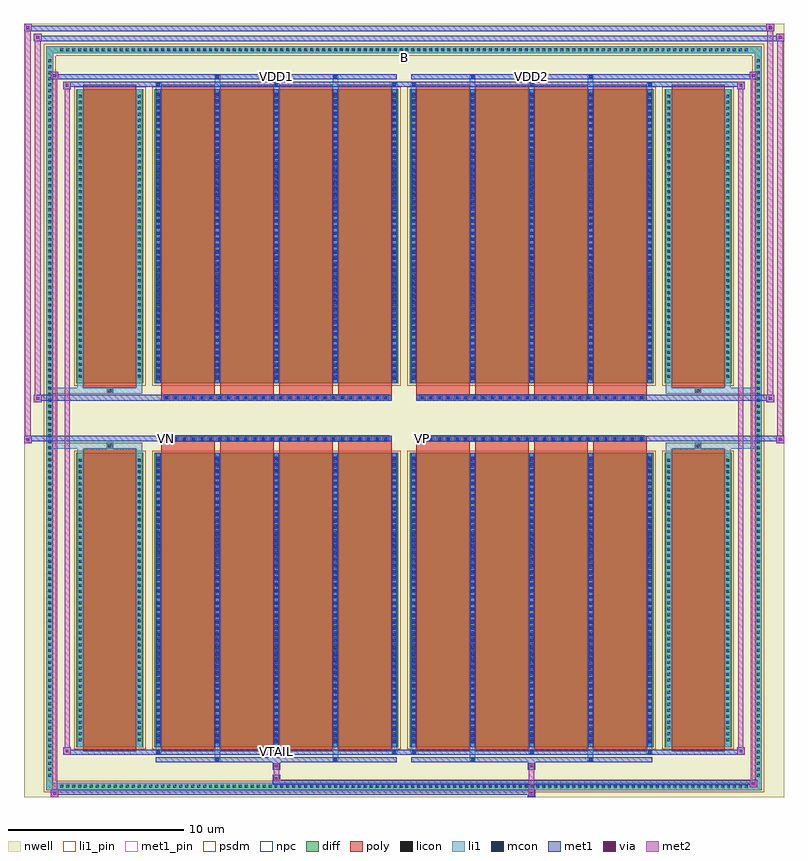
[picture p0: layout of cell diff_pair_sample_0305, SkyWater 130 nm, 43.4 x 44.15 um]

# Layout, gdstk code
import gdstk
lib = gdstk.Library(unit=1e-6, precision=5e-09)
def R(c, l, rs):  # rectangles x0, y0, x1, y1
    for r in rs: c.add(gdstk.rectangle(r[:2], r[2:], *l))
def A(c, l, x, y, w, h, nx, ny, dx, dy):  # array of equal rectangles
    R(c, l, [(x+i*dx, y+j*dy, x+i*dx+w, y+j*dy+h) for i in range(nx) for j in range(ny)])
def P(c, l, *ps):  # polygons
    for p in ps: c.add(gdstk.Polygon(p, *l))
nwell = (64, 20)
diff = (65, 20)
poly = (66, 20)
licon = (66, 44)
li1_pin = (67, 16)
li1 = (67, 20)
mcon = (67, 44)
met1_pin = (68, 16)
met1 = (68, 20)
via = (68, 44)
met2 = (69, 20)
psdm = (94, 20)
npc = (95, 20)

diff_pair_sample_0305 = lib.new_cell('diff_pair_sample_0305')
R(diff_pair_sample_0305, nwell, [(-21.7,-21.64,21.7,22.51), (-19.02,-19.83,-0.01,-0.805), (0.01,-19.83,19.02,-0.805), (-19.02,0.805,-0.01,19.83), (0.01,0.805,19.02,19.83)])
A(diff_pair_sample_0305, diff, -19.755, -21.24, 0.41, 0.41, 116, 2, 0.34, 42.07)
A(diff_pair_sample_0305, diff, -20.43, -20.605, 0.41, 0.41, 1, 121, 0, 0.34)
A(diff_pair_sample_0305, diff, 20.02, -20.605, 0.41, 0.41, 1, 121, 0, 0.34)
R(diff_pair_sample_0305, diff, [(-19.755,-21.24,19.755,-20.83), (-20.43,-20.605,-20.02,20.605), (20.02,-20.605,20.43,20.605), (-18.71,-18.785,-14.89,-1.985), (-14.25,-18.785,-0.32,-1.985), (0.32,-18.785,14.25,-1.985), (14.89,-18.785,18.71,-1.985), (-18.71,1.985,-14.89,18.785), (-14.25,1.985,-0.32,18.785), (0.32,1.985,14.25,18.785), (14.89,1.985,18.71,18.785), (-19.755,20.83,19.755,21.24)])
P(diff_pair_sample_0305, diff, [(20.43,21.24),(-20.43,21.24),(-20.43,-20.83),(-20.02,-20.83),(-20.02,20.83),(20.02,20.83),(20.02,-20.83),(-20.02,-20.83),(-20.43,-20.83),(-20.43,-21.24),(20.43,-21.24)])
A(diff_pair_sample_0305, poly, -13.86, -19.035, 3.04, 17.3, 4, 2, 3.37, 20.77)
A(diff_pair_sample_0305, poly, 0.71, -19.035, 3.04, 17.3, 4, 2, 3.37, 20.77)
A(diff_pair_sample_0305, poly, -13.86, -1.735, 3.04, 0.4, 4, 2, 3.37, 3.07)
A(diff_pair_sample_0305, poly, 0.71, -1.735, 3.04, 0.4, 4, 2, 3.37, 3.07)
A(diff_pair_sample_0305, poly, -13.7, -1.335, 0.33, 0.33, 26, 2, 0.5, 2.34)
A(diff_pair_sample_0305, poly, 0.87, -1.335, 0.33, 0.33, 26, 2, 0.5, 2.34)
R(diff_pair_sample_0305, poly, [(-18.32,-19.035,-15.28,-1.735), (15.28,-19.035,18.32,-1.735), (-16.965,-1.735,-16.635,-1.405), (-16.965,-1.735,-16.635,-1.405), (16.635,-1.735,16.965,-1.405), (16.635,-1.735,16.965,-1.405), (-13.86,-1.335,-0.71,-1.005), (0.71,-1.335,13.86,-1.005), (-13.86,1.005,-0.71,1.335), (0.71,1.005,13.86,1.335), (-16.965,1.405,-16.635,1.735), (-16.965,1.405,-16.635,1.735), (16.635,1.405,16.965,1.735), (16.635,1.405,16.965,1.735), (-18.32,1.735,-15.28,19.035), (15.28,1.735,18.32,19.035)])
A(diff_pair_sample_0305, licon, -19.635, -21.12, 0.17, 0.17, 116, 2, 0.34, 42.07)
A(diff_pair_sample_0305, licon, -20.31, -20.485, 0.17, 0.17, 1, 121, 0, 0.34)
A(diff_pair_sample_0305, licon, 20.14, -20.485, 0.17, 0.17, 1, 121, 0, 0.34)
A(diff_pair_sample_0305, licon, -18.57, -18.46, 0.17, 0.17, 1, 48, 0, 0.34)
A(diff_pair_sample_0305, licon, -15.2, -18.46, 0.17, 0.17, 1, 48, 0, 0.34)
A(diff_pair_sample_0305, licon, -14.11, -18.46, 0.17, 0.17, 5, 48, 3.37, 0.34)
A(diff_pair_sample_0305, licon, 0.46, -18.46, 0.17, 0.17, 5, 48, 3.37, 0.34)
A(diff_pair_sample_0305, licon, 15.03, -18.46, 0.17, 0.17, 1, 48, 0, 0.34)
A(diff_pair_sample_0305, licon, 18.4, -18.46, 0.17, 0.17, 1, 48, 0, 0.34)
A(diff_pair_sample_0305, licon, -13.62, -1.255, 0.17, 0.17, 26, 2, 0.5, 2.34)
A(diff_pair_sample_0305, licon, 0.95, -1.255, 0.17, 0.17, 26, 2, 0.5, 2.34)
A(diff_pair_sample_0305, licon, -18.57, 2.31, 0.17, 0.17, 1, 48, 0, 0.34)
A(diff_pair_sample_0305, licon, -15.2, 2.31, 0.17, 0.17, 1, 48, 0, 0.34)
A(diff_pair_sample_0305, licon, -14.11, 2.31, 0.17, 0.17, 5, 48, 3.37, 0.34)
A(diff_pair_sample_0305, licon, 0.46, 2.31, 0.17, 0.17, 5, 48, 3.37, 0.34)
A(diff_pair_sample_0305, licon, 15.03, 2.31, 0.17, 0.17, 1, 48, 0, 0.34)
A(diff_pair_sample_0305, licon, 18.4, 2.31, 0.17, 0.17, 1, 48, 0, 0.34)
R(diff_pair_sample_0305, licon, [(-16.885,-1.655,-16.715,-1.485), (16.715,-1.655,16.885,-1.485), (-16.885,1.485,-16.715,1.655), (16.715,1.485,16.885,1.655)])
R(diff_pair_sample_0305, li1_pin, [(-0.25,20.33,0.25,20.83)])
A(diff_pair_sample_0305, li1, -19.715, -21.2, 0.33, 0.33, 116, 2, 0.34, 42.07)
A(diff_pair_sample_0305, li1, -20.39, -20.565, 0.33, 0.33, 1, 121, 0, 0.34)
A(diff_pair_sample_0305, li1, 20.06, -20.565, 0.33, 0.33, 1, 121, 0, 0.34)
A(diff_pair_sample_0305, li1, -14.19, -19.16, 0.33, 0.375, 3, 2, 6.74, 37.945)
A(diff_pair_sample_0305, li1, -14.11, -19.16, 0.17, 0.17, 3, 2, 6.74, 38.15)
A(diff_pair_sample_0305, li1, 0.38, -19.16, 0.33, 0.375, 3, 2, 6.74, 37.945)
A(diff_pair_sample_0305, li1, 0.46, -19.16, 0.17, 0.17, 3, 2, 6.74, 38.15)
A(diff_pair_sample_0305, li1, -14.19, -18.785, 0.33, 16.8, 5, 2, 3.37, 20.77)
A(diff_pair_sample_0305, li1, 0.38, -18.785, 0.33, 16.8, 5, 2, 3.37, 20.77)
A(diff_pair_sample_0305, li1, -14.11, -18.57, 0.17, 0.17, 5, 46, 3.37, 0.36)
A(diff_pair_sample_0305, li1, -14.11, -18.57, 0.17, 16.37, 5, 2, 3.37, 20.77)
A(diff_pair_sample_0305, li1, 0.46, -18.57, 0.17, 0.17, 5, 46, 3.37, 0.36)
A(diff_pair_sample_0305, li1, 0.46, -18.57, 0.17, 16.37, 5, 2, 3.37, 20.77)
A(diff_pair_sample_0305, li1, -18.65, -18.54, 0.33, 0.33, 1, 48, 0, 0.34)
A(diff_pair_sample_0305, li1, -15.28, -18.54, 0.33, 0.33, 1, 48, 0, 0.34)
A(diff_pair_sample_0305, li1, -14.19, -18.54, 0.33, 0.33, 5, 48, 3.37, 0.34)
A(diff_pair_sample_0305, li1, 0.38, -18.54, 0.33, 0.33, 5, 48, 3.37, 0.34)
A(diff_pair_sample_0305, li1, 14.95, -18.54, 0.33, 0.33, 1, 48, 0, 0.34)
A(diff_pair_sample_0305, li1, 18.32, -18.54, 0.33, 0.33, 1, 48, 0, 0.34)
A(diff_pair_sample_0305, li1, -13.7, -1.335, 0.33, 0.33, 26, 2, 0.5, 2.34)
A(diff_pair_sample_0305, li1, 0.87, -1.335, 0.33, 0.33, 26, 2, 0.5, 2.34)
A(diff_pair_sample_0305, li1, -14.11, 2.2, 0.17, 0.17, 5, 46, 3.37, 0.36)
A(diff_pair_sample_0305, li1, 0.46, 2.2, 0.17, 0.17, 5, 46, 3.37, 0.36)
A(diff_pair_sample_0305, li1, -18.65, 2.23, 0.33, 0.33, 1, 48, 0, 0.34)
A(diff_pair_sample_0305, li1, -15.28, 2.23, 0.33, 0.33, 1, 48, 0, 0.34)
A(diff_pair_sample_0305, li1, -14.19, 2.23, 0.33, 0.33, 5, 48, 3.37, 0.34)
A(diff_pair_sample_0305, li1, 0.38, 2.23, 0.33, 0.33, 5, 48, 3.37, 0.34)
A(diff_pair_sample_0305, li1, 14.95, 2.23, 0.33, 0.33, 1, 48, 0, 0.34)
A(diff_pair_sample_0305, li1, 18.32, 2.23, 0.33, 0.33, 1, 48, 0, 0.34)
R(diff_pair_sample_0305, li1, [(-20.43,-21.24,-20.02,-20.83), (-20.43,-21.24,-20.02,-20.83), (-20.02,-21.24,20.02,-20.83), (20.02,-21.24,20.43,-20.83), (20.02,-21.24,20.43,-20.83), (-20.43,-20.83,-20.02,20.83), (20.02,-20.83,20.43,20.83), (-10.82,-19.59,-10.49,-18.785), (-10.74,-19.59,-10.57,-19.42), (-4.08,-19.59,-3.75,-18.785), (-4,-19.59,-3.83,-19.42), (3.75,-19.59,4.08,-18.785), (3.83,-19.59,4,-19.42), (10.49,-19.59,10.82,-18.785), (10.57,-19.59,10.74,-19.42), (-18.65,-18.785,-18.32,-1.985), (-15.28,-18.785,-14.95,-1.985), (14.95,-18.785,15.28,-1.985), (18.32,-18.785,18.65,-1.985), (-18.65,-1.985,-18.32,-1.405), (-15.28,-1.985,-14.95,-1.405), (14.95,-1.985,15.28,-1.405), (18.32,-1.985,18.65,-1.405), (-20.43,-1.735,-16.965,-1.405), (-18.65,-1.735,-16.965,-1.405), (-16.965,-1.735,-16.635,-1.405), (-16.635,-1.735,-14.95,-1.405), (14.95,-1.735,16.635,-1.405), (16.635,-1.735,16.965,-1.405), (16.635,-1.735,20.43,-1.405), (16.965,-1.735,18.65,-1.405), (-20.43,1.405,-16.965,1.735), (-18.65,1.405,-16.965,1.735), (-18.65,1.405,-18.32,1.985), (-16.965,1.405,-16.635,1.735), (-16.635,1.405,-14.95,1.735), (-15.28,1.405,-14.95,1.985), (14.95,1.405,16.635,1.735), (14.95,1.405,15.28,1.985), (16.635,1.405,16.965,1.735), (16.635,1.405,20.43,1.735), (16.965,1.405,18.65,1.735), (18.32,1.405,18.65,1.985), (-18.65,1.985,-18.32,18.785), (-15.28,1.985,-14.95,18.785), (14.95,1.985,15.28,18.785), (18.32,1.985,18.65,18.785), (-10.82,18.785,-10.49,19.59), (-4.08,18.785,-3.75,19.59), (3.75,18.785,4.08,19.59), (10.49,18.785,10.82,19.59), (-10.74,19.42,-10.57,19.59), (-4,19.42,-3.83,19.59), (3.83,19.42,4,19.59), (10.57,19.42,10.74,19.59), (-20.43,20.83,-20.02,21.24), (-20.43,20.83,-20.02,21.24), (-20.02,20.83,20.02,21.24), (20.02,20.83,20.43,21.24), (20.02,20.83,20.43,21.24)])
A(diff_pair_sample_0305, mcon, -14.11, -19.16, 0.17, 0.17, 3, 2, 6.74, 38.15)
A(diff_pair_sample_0305, mcon, 0.46, -19.16, 0.17, 0.17, 3, 2, 6.74, 38.15)
A(diff_pair_sample_0305, mcon, -14.11, -18.57, 0.17, 0.17, 5, 46, 3.37, 0.36)
A(diff_pair_sample_0305, mcon, 0.46, -18.57, 0.17, 0.17, 5, 46, 3.37, 0.36)
A(diff_pair_sample_0305, mcon, -13.62, -1.255, 0.17, 0.17, 26, 2, 0.5, 2.34)
A(diff_pair_sample_0305, mcon, 0.95, -1.255, 0.17, 0.17, 26, 2, 0.5, 2.34)
A(diff_pair_sample_0305, mcon, -14.11, 2.2, 0.17, 0.17, 5, 46, 3.37, 0.36)
A(diff_pair_sample_0305, mcon, 0.46, 2.2, 0.17, 0.17, 5, 46, 3.37, 0.36)
R(diff_pair_sample_0305, mcon, [(-10.74,-19.59,-10.57,-19.42), (-4,-19.59,-3.83,-19.42), (3.83,-19.59,4,-19.42), (10.57,-19.59,10.74,-19.42), (-10.74,19.42,-10.57,19.59), (-4,19.42,-3.83,19.59), (3.83,19.42,4,19.59), (10.57,19.42,10.74,19.59)])
R(diff_pair_sample_0305, met1_pin, [(-7.42,-19.2,-7.15,-18.93), (-13.67,-1.295,-13.4,-1.025), (0.9,-1.295,1.17,-1.025), (-7.42,19.38,-7.15,19.65), (7.15,19.38,7.42,19.65)])
A(diff_pair_sample_0305, met1, -14.17, -19.22, 0.29, 0.29, 3, 2, 6.74, 38.15)
A(diff_pair_sample_0305, met1, 0.4, -19.22, 0.29, 0.29, 3, 2, 6.74, 38.15)
A(diff_pair_sample_0305, met1, -14.17, -18.785, 0.29, 16.8, 5, 2, 3.37, 20.77)
A(diff_pair_sample_0305, met1, 0.4, -18.785, 0.29, 16.8, 5, 2, 3.37, 20.77)
A(diff_pair_sample_0305, met1, -14.17, -18.63, 0.29, 0.29, 5, 46, 3.37, 0.36)
A(diff_pair_sample_0305, met1, 0.4, -18.63, 0.29, 0.29, 5, 46, 3.37, 0.36)
A(diff_pair_sample_0305, met1, -13.68, -1.315, 0.29, 0.29, 26, 2, 0.5, 2.34)
A(diff_pair_sample_0305, met1, 0.89, -1.315, 0.29, 0.29, 26, 2, 0.5, 2.34)
A(diff_pair_sample_0305, met1, -14.17, 2.14, 0.29, 0.29, 5, 46, 3.37, 0.36)
A(diff_pair_sample_0305, met1, 0.4, 2.14, 0.29, 0.29, 5, 46, 3.37, 0.36)
R(diff_pair_sample_0305, met1, [(-20.16,-21.64,-19.73,-21.21), (7.07,-21.64,7.5,-21.21), (-20.16,-21.5,7.5,-21.21), (19.73,-21.07,20.16,-20.64), (-7.5,-20.93,20.16,-20.64), (-7.5,-20.79,-7.07,-20.36), (-7.5,-20.08,-7.07,-19.65), (7.07,-20.08,7.5,-19.65), (-14.17,-19.65,-0.4,-19.36), (-10.8,-19.65,-10.51,-19.36), (-4.06,-19.65,-3.77,-19.36), (0.4,-19.65,14.17,-19.36), (3.77,-19.65,4.06,-19.36), (10.51,-19.65,10.8,-19.36), (-19.45,-19.22,-19.02,-18.79), (-19.45,-19.22,-14.17,-18.93), (-14.17,-19.22,-0.4,-18.93), (-0.4,-19.22,0.4,-18.93), (0.4,-19.22,14.17,-18.93), (14.17,-19.22,19.45,-18.93), (19.02,-19.22,19.45,-18.79), (-21.7,-1.435,-21.27,-1.005), (21.27,-1.435,21.7,-1.005), (-21.7,-1.335,-0.71,-1.005), (-13.86,-1.335,-0.71,-1.005), (0.71,-1.335,13.86,-1.005), (0.71,-1.335,21.7,-1.005), (-21.13,0.905,-20.7,1.335), (20.7,0.905,21.13,1.335), (-21.13,1.005,-13.86,1.335), (-13.86,1.005,-0.71,1.335), (0.71,1.005,13.86,1.335), (13.86,1.005,21.13,1.335), (-19.45,18.79,-19.02,19.22), (19.02,18.79,19.45,19.22), (-19.45,18.93,-14.17,19.22), (-14.17,18.93,-0.4,19.22), (-0.4,18.93,0.4,19.22), (0.4,18.93,14.17,19.22), (14.17,18.93,19.45,19.22), (-20.16,19.36,-19.73,19.79), (-20.16,19.36,-14.17,19.65), (-14.17,19.36,-0.4,19.65), (-10.8,19.36,-10.51,19.65), (-4.06,19.36,-3.77,19.65), (0.4,19.36,14.17,19.65), (3.77,19.36,4.06,19.65), (10.51,19.36,10.8,19.65), (14.17,19.36,20.16,19.65), (19.73,19.36,20.16,19.79), (-21.13,21.51,-20.7,21.94), (-21.13,21.51,-19.02,21.84), (-19.02,21.51,19.02,21.84), (19.02,21.51,21.7,21.84), (21.27,21.51,21.7,21.94), (-21.7,22.08,-21.27,22.51), (-21.7,22.08,-19.02,22.41), (-19.02,22.08,19.02,22.41), (19.02,22.08,21.13,22.41), (20.7,22.08,21.13,22.51)])
R(diff_pair_sample_0305, via, [(-20.02,-21.5,-19.87,-21.35), (7.21,-21.5,7.36,-21.35), (19.87,-20.93,20.02,-20.78), (-7.36,-20.65,-7.21,-20.5), (-7.36,-19.94,-7.21,-19.79), (7.21,-19.94,7.36,-19.79), (-19.31,-19.08,-19.16,-18.93), (19.16,-19.08,19.31,-18.93), (-21.56,-1.295,-21.41,-1.145), (21.41,-1.295,21.56,-1.145), (-20.99,1.045,-20.84,1.195), (20.84,1.045,20.99,1.195), (-19.31,18.93,-19.16,19.08), (19.16,18.93,19.31,19.08), (-20.02,19.5,-19.87,19.65), (19.87,19.5,20.02,19.65), (-20.99,21.65,-20.84,21.8), (21.41,21.65,21.56,21.8), (-21.56,22.22,-21.41,22.37), (20.84,22.22,20.99,22.37)])
R(diff_pair_sample_0305, met2, [(-20.16,-21.64,-19.73,-21.21), (-20.09,-21.64,-19.8,19.79), (-19.8,-21.64,-19.73,-21.21), (-20.11,-21.59,-19.78,-21.26), (7.12,-21.59,7.45,-21.26), (7.12,-21.26,7.45,-20.03), (19.73,-21.07,20.16,-20.64), (19.8,-21.07,20.09,19.79), (20.09,-21.07,20.16,-20.64), (19.78,-21.02,20.11,-20.69), (-7.45,-20.74,-7.12,-20.41), (-7.45,-20.41,-7.12,-20.03), (-7.45,-20.03,-7.12,-19.7), (7.12,-20.03,7.45,-19.7), (-19.45,-19.22,-19.02,-18.79), (-19.38,-19.22,-19.09,19.22), (-19.09,-19.22,-19.02,-18.79), (19.02,-19.22,19.45,-18.79), (19.09,-19.22,19.38,19.22), (19.38,-19.22,19.45,-18.79), (-19.4,-19.17,-19.07,-18.84), (19.07,-19.17,19.4,-18.84), (-21.7,-1.435,-21.27,-1.005), (-21.65,-1.435,-21.32,22.51), (-21.32,-1.435,-21.27,-1.005), (21.27,-1.435,21.7,-1.005), (21.32,-1.435,21.65,21.94), (21.65,-1.435,21.7,-1.005), (-21.65,-1.385,-21.32,-1.055), (21.32,-1.385,21.65,-1.055), (-21.13,0.905,-20.7,1.335), (-21.08,0.905,-20.75,21.94), (-20.75,0.905,-20.7,1.335), (20.7,0.905,21.13,1.335), (20.75,0.905,21.08,22.51), (21.08,0.905,21.13,1.335), (-21.08,0.955,-20.75,1.285), (20.75,0.955,21.08,1.285), (-19.45,18.79,-19.02,19.22), (-19.09,18.79,-19.02,19.22), (19.02,18.79,19.45,19.22), (19.38,18.79,19.45,19.22), (-19.4,18.84,-19.07,19.17), (19.07,18.84,19.4,19.17), (-20.16,19.36,-19.73,19.79), (-19.8,19.36,-19.73,19.79), (19.73,19.36,20.16,19.79), (20.09,19.36,20.16,19.79), (-20.11,19.41,-19.78,19.74), (19.78,19.41,20.11,19.74), (-21.13,21.51,-20.7,21.94), (-20.75,21.51,-20.7,21.94), (21.27,21.51,21.7,21.94), (21.65,21.51,21.7,21.94), (-21.08,21.56,-20.75,21.89), (21.32,21.56,21.65,21.89), (-21.7,22.08,-21.27,22.51), (-21.32,22.08,-21.27,22.51), (20.7,22.08,21.13,22.51), (21.08,22.08,21.13,22.51), (-21.65,22.13,-21.32,22.46), (20.75,22.13,21.08,22.46)])
R(diff_pair_sample_0305, psdm, [(-18.84,-18.915,-14.76,-1.855), (-14.38,-18.915,-0.19,-1.855), (0.19,-18.915,14.38,-1.855), (14.76,-18.915,18.84,-1.855), (-18.84,1.855,-14.76,18.915), (-14.38,1.855,-0.19,18.915), (0.19,1.855,14.38,18.915), (14.76,1.855,18.84,18.915)])
P(diff_pair_sample_0305, psdm, [(20.56,21.37),(-20.56,21.37),(-20.56,-20.7),(-19.89,-20.7),(-19.89,20.7),(19.89,20.7),(19.89,-20.7),(-19.89,-20.7),(-20.56,-20.7),(-20.56,-21.37),(20.56,-21.37)])
A(diff_pair_sample_0305, npc, -13.72, -1.355, 0.37, 0.37, 26, 2, 0.5, 2.34)
A(diff_pair_sample_0305, npc, 0.85, -1.355, 0.37, 0.37, 26, 2, 0.5, 2.34)
R(diff_pair_sample_0305, npc, [(-16.985,-1.755,-16.615,-1.385), (16.615,-1.755,16.985,-1.385), (-13.72,-1.355,-12.85,-0.985), (-13.72,-1.355,-12.85,-0.985), (-13.22,-1.355,-12.35,-0.985), (-13.22,-1.355,-12.35,-0.985), (-12.72,-1.355,-11.85,-0.985), (-12.72,-1.355,-11.85,-0.985), (-12.22,-1.355,-11.35,-0.985), (-12.22,-1.355,-11.35,-0.985), (-11.72,-1.355,-10.85,-0.985), (-11.72,-1.355,-10.85,-0.985), (-11.22,-1.355,-10.35,-0.985), (-11.22,-1.355,-10.35,-0.985), (-10.72,-1.355,-9.85,-0.985), (-10.72,-1.355,-9.85,-0.985), (-10.22,-1.355,-9.35,-0.985), (-10.22,-1.355,-9.35,-0.985), (-9.72,-1.355,-8.85,-0.985), (-9.72,-1.355,-8.85,-0.985), (-9.22,-1.355,-8.35,-0.985), (-9.22,-1.355,-8.35,-0.985), (-8.72,-1.355,-7.85,-0.985), (-8.72,-1.355,-7.85,-0.985), (-8.22,-1.355,-7.35,-0.985), (-8.22,-1.355,-7.35,-0.985), (-7.72,-1.355,-6.85,-0.985), (-7.72,-1.355,-6.85,-0.985), (-7.22,-1.355,-6.35,-0.985), (-7.22,-1.355,-6.35,-0.985), (-6.72,-1.355,-5.85,-0.985), (-6.72,-1.355,-5.85,-0.985), (-6.22,-1.355,-5.35,-0.985), (-6.22,-1.355,-5.35,-0.985), (-5.72,-1.355,-4.85,-0.985), (-5.72,-1.355,-4.85,-0.985), (-5.22,-1.355,-4.35,-0.985), (-5.22,-1.355,-4.35,-0.985), (-4.72,-1.355,-3.85,-0.985), (-4.72,-1.355,-3.85,-0.985), (-4.22,-1.355,-3.35,-0.985), (-4.22,-1.355,-3.35,-0.985), (-3.72,-1.355,-2.85,-0.985), (-3.72,-1.355,-2.85,-0.985), (-3.22,-1.355,-2.35,-0.985), (-3.22,-1.355,-2.35,-0.985), (-2.72,-1.355,-1.85,-0.985), (-2.72,-1.355,-1.85,-0.985), (-2.22,-1.355,-1.35,-0.985), (-2.22,-1.355,-1.35,-0.985), (-1.72,-1.355,-0.85,-0.985), (-1.72,-1.355,-0.85,-0.985), (0.85,-1.355,1.72,-0.985), (0.85,-1.355,1.72,-0.985), (1.35,-1.355,2.22,-0.985), (1.35,-1.355,2.22,-0.985), (1.85,-1.355,2.72,-0.985), (1.85,-1.355,2.72,-0.985), (2.35,-1.355,3.22,-0.985), (2.35,-1.355,3.22,-0.985), (2.85,-1.355,3.72,-0.985), (2.85,-1.355,3.72,-0.985), (3.35,-1.355,4.22,-0.985), (3.35,-1.355,4.22,-0.985), (3.85,-1.355,4.72,-0.985), (3.85,-1.355,4.72,-0.985), (4.35,-1.355,5.22,-0.985), (4.35,-1.355,5.22,-0.985), (4.85,-1.355,5.72,-0.985), (4.85,-1.355,5.72,-0.985), (5.35,-1.355,6.22,-0.985), (5.35,-1.355,6.22,-0.985), (5.85,-1.355,6.72,-0.985), (5.85,-1.355,6.72,-0.985), (6.35,-1.355,7.22,-0.985), (6.35,-1.355,7.22,-0.985), (6.85,-1.355,7.72,-0.985), (6.85,-1.355,7.72,-0.985), (7.35,-1.355,8.22,-0.985), (7.35,-1.355,8.22,-0.985), (7.85,-1.355,8.72,-0.985), (7.85,-1.355,8.72,-0.985), (8.35,-1.355,9.22,-0.985), (8.35,-1.355,9.22,-0.985), (8.85,-1.355,9.72,-0.985), (8.85,-1.355,9.72,-0.985), (9.35,-1.355,10.22,-0.985), (9.35,-1.355,10.22,-0.985), (9.85,-1.355,10.72,-0.985), (9.85,-1.355,10.72,-0.985), (10.35,-1.355,11.22,-0.985), (10.35,-1.355,11.22,-0.985), (10.85,-1.355,11.72,-0.985), (10.85,-1.355,11.72,-0.985), (11.35,-1.355,12.22,-0.985), (11.35,-1.355,12.22,-0.985), (11.85,-1.355,12.72,-0.985), (11.85,-1.355,12.72,-0.985), (12.35,-1.355,13.22,-0.985), (12.35,-1.355,13.22,-0.985), (12.85,-1.355,13.72,-0.985), (12.85,-1.355,13.72,-0.985), (-13.72,0.985,-12.85,1.355), (-13.72,0.985,-12.85,1.355), (-13.22,0.985,-12.35,1.355), (-13.22,0.985,-12.35,1.355), (-12.72,0.985,-11.85,1.355), (-12.72,0.985,-11.85,1.355), (-12.22,0.985,-11.35,1.355), (-12.22,0.985,-11.35,1.355), (-11.72,0.985,-10.85,1.355), (-11.72,0.985,-10.85,1.355), (-11.22,0.985,-10.35,1.355), (-11.22,0.985,-10.35,1.355), (-10.72,0.985,-9.85,1.355), (-10.72,0.985,-9.85,1.355), (-10.22,0.985,-9.35,1.355), (-10.22,0.985,-9.35,1.355), (-9.72,0.985,-8.85,1.355), (-9.72,0.985,-8.85,1.355), (-9.22,0.985,-8.35,1.355), (-9.22,0.985,-8.35,1.355), (-8.72,0.985,-7.85,1.355), (-8.72,0.985,-7.85,1.355), (-8.22,0.985,-7.35,1.355), (-8.22,0.985,-7.35,1.355), (-7.72,0.985,-6.85,1.355), (-7.72,0.985,-6.85,1.355), (-7.22,0.985,-6.35,1.355), (-7.22,0.985,-6.35,1.355), (-6.72,0.985,-5.85,1.355), (-6.72,0.985,-5.85,1.355), (-6.22,0.985,-5.35,1.355), (-6.22,0.985,-5.35,1.355), (-5.72,0.985,-4.85,1.355), (-5.72,0.985,-4.85,1.355), (-5.22,0.985,-4.35,1.355), (-5.22,0.985,-4.35,1.355), (-4.72,0.985,-3.85,1.355), (-4.72,0.985,-3.85,1.355), (-4.22,0.985,-3.35,1.355), (-4.22,0.985,-3.35,1.355), (-3.72,0.985,-2.85,1.355), (-3.72,0.985,-2.85,1.355), (-3.22,0.985,-2.35,1.355), (-3.22,0.985,-2.35,1.355), (-2.72,0.985,-1.85,1.355), (-2.72,0.985,-1.85,1.355), (-2.22,0.985,-1.35,1.355), (-2.22,0.985,-1.35,1.355), (-1.72,0.985,-0.85,1.355), (-1.72,0.985,-0.85,1.355), (0.85,0.985,1.72,1.355), (0.85,0.985,1.72,1.355), (1.35,0.985,2.22,1.355), (1.35,0.985,2.22,1.355), (1.85,0.985,2.72,1.355), (1.85,0.985,2.72,1.355), (2.35,0.985,3.22,1.355), (2.35,0.985,3.22,1.355), (2.85,0.985,3.72,1.355), (2.85,0.985,3.72,1.355), (3.35,0.985,4.22,1.355), (3.35,0.985,4.22,1.355), (3.85,0.985,4.72,1.355), (3.85,0.985,4.72,1.355), (4.35,0.985,5.22,1.355), (4.35,0.985,5.22,1.355), (4.85,0.985,5.72,1.355), (4.85,0.985,5.72,1.355), (5.35,0.985,6.22,1.355), (5.35,0.985,6.22,1.355), (5.85,0.985,6.72,1.355), (5.85,0.985,6.72,1.355), (6.35,0.985,7.22,1.355), (6.35,0.985,7.22,1.355), (6.85,0.985,7.72,1.355), (6.85,0.985,7.72,1.355), (7.35,0.985,8.22,1.355), (7.35,0.985,8.22,1.355), (7.85,0.985,8.72,1.355), (7.85,0.985,8.72,1.355), (8.35,0.985,9.22,1.355), (8.35,0.985,9.22,1.355), (8.85,0.985,9.72,1.355), (8.85,0.985,9.72,1.355), (9.35,0.985,10.22,1.355), (9.35,0.985,10.22,1.355), (9.85,0.985,10.72,1.355), (9.85,0.985,10.72,1.355), (10.35,0.985,11.22,1.355), (10.35,0.985,11.22,1.355), (10.85,0.985,11.72,1.355), (10.85,0.985,11.72,1.355), (11.35,0.985,12.22,1.355), (11.35,0.985,12.22,1.355), (11.85,0.985,12.72,1.355), (11.85,0.985,12.72,1.355), (12.35,0.985,13.22,1.355), (12.35,0.985,13.22,1.355), (12.85,0.985,13.72,1.355), (12.85,0.985,13.72,1.355), (-16.985,1.385,-16.615,1.755), (16.615,1.385,16.985,1.755)])
diff_pair_sample_0305.add(gdstk.Label('VTAIL', (-7.285,-19.065), layer=68, texttype=5))
diff_pair_sample_0305.add(gdstk.Label('VN', (-13.535,-1.16), layer=68, texttype=5))
diff_pair_sample_0305.add(gdstk.Label('VP', (1.035,-1.16), layer=68, texttype=5))
diff_pair_sample_0305.add(gdstk.Label('B', (0,20.58), layer=67, texttype=5))
diff_pair_sample_0305.add(gdstk.Label('VDD2', (7.285,19.515), layer=68, texttype=5))
diff_pair_sample_0305.add(gdstk.Label('VDD1', (-7.285,19.515), layer=68, texttype=5))

lib.write_gds('diff_pair_sample_0305.gds')
